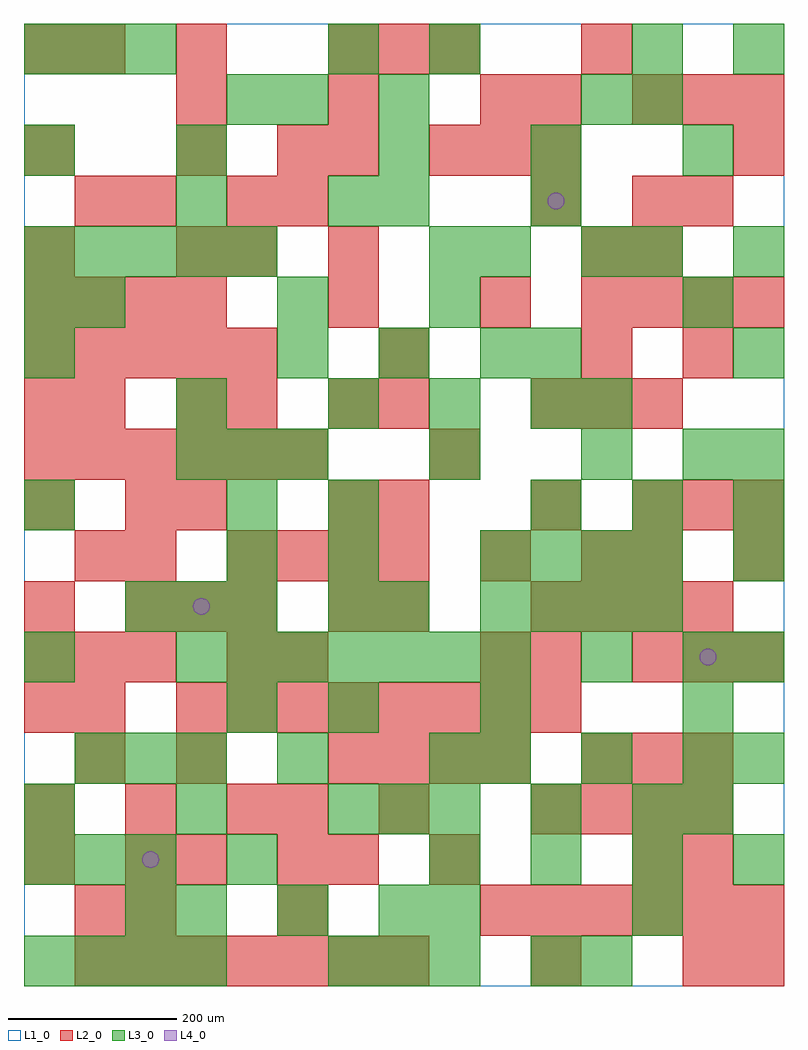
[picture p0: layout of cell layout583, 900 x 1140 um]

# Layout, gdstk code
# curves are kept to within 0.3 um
import gdstk
lib = gdstk.Library(unit=1e-6, precision=1e-09)
def R(c, l, rs):  # rectangles x0, y0, x1, y1
    for r in rs: c.add(gdstk.rectangle(r[:2], r[2:], *l))
def A(c, l, x, y, w, h, nx, ny, dx, dy):  # array of equal rectangles
    R(c, l, [(x+i*dx, y+j*dy, x+i*dx+w, y+j*dy+h) for i in range(nx) for j in range(ny)])
def P(c, l, *ps):  # polygons
    for p in ps: c.add(gdstk.Polygon(p, *l))
L1_0 = (1, 0)
L2_0 = (2, 0)
L3_0 = (3, 0)
L4_0 = (4, 0)

layout583 = lib.new_cell('layout583')
R(layout583, L1_0, [(0,0,900,1140)])
A(layout583, L2_0, 60, 0, 60, 60, 7, 1, 60, 0)
A(layout583, L2_0, 840, 0, 60, 60, 1, 3, 0, 480)
A(layout583, L2_0, 300, 60, 60, 60, 1, 3, 0, 60)
A(layout583, L2_0, 540, 60, 60, 60, 6, 1, 60, 0)
A(layout583, L2_0, 720, 120, 60, 60, 1, 3, 0, 360)
A(layout583, L2_0, 0, 180, 60, 60, 3, 1, 120, 0)
A(layout583, L2_0, 600, 180, 60, 60, 4, 2, 60, 240)
A(layout583, L2_0, 360, 240, 60, 60, 4, 1, 60, 0)
A(layout583, L2_0, 660, 240, 60, 60, 3, 1, 60, 0)
A(layout583, L2_0, 0, 300, 60, 60, 1, 4, 0, 120)
A(layout583, L2_0, 60, 300, 60, 60, 1, 3, 0, 180)
A(layout583, L2_0, 180, 300, 60, 60, 8, 1, 60, 0)
A(layout583, L2_0, 0, 360, 60, 60, 3, 1, 60, 0)
A(layout583, L2_0, 720, 360, 60, 60, 3, 2, 60, 180)
A(layout583, L2_0, 120, 420, 60, 60, 3, 1, 60, 0)
A(layout583, L2_0, 360, 420, 60, 60, 1, 4, 0, 120)
A(layout583, L2_0, 420, 420, 60, 60, 1, 3, 0, 120)
A(layout583, L2_0, 240, 480, 60, 60, 4, 1, 60, 0)
A(layout583, L2_0, 0, 600, 60, 60, 6, 1, 60, 0)
A(layout583, L2_0, 600, 660, 60, 60, 3, 1, 60, 0)
A(layout583, L2_0, 0, 720, 60, 60, 5, 1, 60, 0)
A(layout583, L2_0, 0, 780, 60, 60, 4, 1, 60, 0)
A(layout583, L2_0, 660, 780, 60, 60, 4, 1, 60, 0)
A(layout583, L2_0, 0, 840, 60, 60, 1, 3, 0, 120)
A(layout583, L2_0, 180, 840, 60, 60, 1, 3, 0, 120)
A(layout583, L2_0, 480, 960, 60, 60, 3, 1, 60, 0)
A(layout583, L2_0, 180, 1020, 60, 60, 3, 1, 180, 0)
A(layout583, L2_0, 720, 1020, 60, 60, 3, 1, 60, 0)
A(layout583, L2_0, 360, 1080, 60, 60, 3, 1, 60, 0)
R(layout583, L2_0, [(600,0,660,60), (780,0,840,60), (60,60,120,120), (120,60,180,120), (0,120,60,180), (120,120,180,180), (180,120,240,180), (360,120,420,180), (480,120,540,180), (780,120,840,180), (420,180,480,240), (60,240,120,300), (180,240,240,300), (240,360,300,420), (300,360,360,420), (540,360,600,420), (600,360,660,420), (120,480,180,540), (540,480,600,540), (660,480,720,540), (120,540,180,600), (180,540,240,600), (600,540,660,600), (480,600,540,660), (180,660,240,720), (240,660,300,720), (420,720,480,780), (660,720,720,780), (780,720,840,780), (540,780,600,840), (240,840,300,900), (360,840,420,900), (660,840,720,900), (60,900,120,960), (120,900,180,960), (240,900,300,960), (300,900,360,960), (600,900,660,960), (720,900,780,960), (780,900,840,960), (300,960,360,1020), (360,960,420,1020), (600,1020,660,1080), (60,1080,120,1140), (660,1080,720,1140)])
A(layout583, L3_0, 0, 0, 60, 60, 4, 1, 60, 0)
A(layout583, L3_0, 360, 0, 60, 60, 3, 1, 60, 0)
A(layout583, L3_0, 180, 60, 60, 60, 3, 1, 120, 0)
A(layout583, L3_0, 0, 120, 60, 60, 3, 2, 60, 960)
A(layout583, L3_0, 240, 120, 60, 60, 1, 3, 0, 180)
A(layout583, L3_0, 480, 120, 60, 60, 4, 1, 120, 0)
A(layout583, L3_0, 0, 180, 60, 60, 3, 1, 180, 0)
A(layout583, L3_0, 480, 180, 60, 60, 3, 1, 120, 0)
A(layout583, L3_0, 60, 240, 60, 60, 3, 1, 60, 0)
A(layout583, L3_0, 540, 240, 60, 60, 3, 1, 120, 0)
A(layout583, L3_0, 840, 240, 60, 60, 1, 6, 0, 120)
A(layout583, L3_0, 0, 360, 60, 60, 1, 3, 0, 180)
A(layout583, L3_0, 180, 360, 60, 60, 7, 1, 60, 0)
A(layout583, L3_0, 120, 420, 60, 60, 3, 1, 60, 0)
A(layout583, L3_0, 360, 420, 60, 60, 1, 3, 0, 60)
A(layout583, L3_0, 540, 420, 60, 60, 4, 2, 60, 60)
A(layout583, L3_0, 600, 540, 60, 60, 3, 1, 120, 0)
A(layout583, L3_0, 180, 600, 60, 60, 3, 1, 60, 0)
A(layout583, L3_0, 360, 660, 60, 60, 3, 1, 120, 0)
A(layout583, L3_0, 660, 660, 60, 60, 1, 3, 0, 180)
A(layout583, L3_0, 300, 720, 60, 60, 3, 1, 120, 0)
A(layout583, L3_0, 0, 840, 60, 60, 5, 1, 60, 0)
A(layout583, L3_0, 420, 960, 60, 60, 3, 1, 180, 0)
R(layout583, L3_0, [(600,0,660,60), (660,0,720,60), (120,60,180,120), (480,60,540,120), (720,60,780,120), (420,180,480,240), (780,180,840,240), (300,240,360,300), (480,240,540,300), (360,300,420,360), (540,300,600,360), (780,300,840,360), (660,360,720,420), (780,360,840,420), (420,420,480,480), (240,540,300,600), (480,600,540,660), (660,600,720,660), (780,600,840,660), (180,660,240,720), (600,720,660,780), (0,780,60,840), (60,780,120,840), (300,780,360,840), (480,780,540,840), (780,780,840,840), (480,840,540,900), (540,840,600,900), (720,840,780,900), (180,900,240,960), (360,900,420,960), (420,900,480,960), (600,900,660,960), (0,960,60,1020), (180,960,240,1020), (240,1020,300,1080), (300,1020,360,1080), (420,1020,480,1080), (720,1020,780,1080), (360,1080,420,1140), (480,1080,540,1140), (720,1080,780,1140), (840,1080,900,1140)])
P(layout583, L4_0, [(160,150),(159.239,153.827),(157.071,157.071),(153.827,159.239),(150,160),(146.173,159.239),(142.929,157.071),(140.761,153.827),(140,150),(140.761,146.173),(142.929,142.929),(146.173,140.761),(150,140),(153.827,140.761),(157.071,142.929),(159.239,146.173)],
  [(220,450),(219.239,453.827),(217.071,457.071),(213.827,459.239),(210,460),(206.173,459.239),(202.929,457.071),(200.761,453.827),(200,450),(200.761,446.173),(202.929,442.929),(206.173,440.761),(210,440),(213.827,440.761),(217.071,442.929),(219.239,446.173)],
  [(640,930),(639.239,933.827),(637.071,937.071),(633.827,939.239),(630,940),(626.173,939.239),(622.929,937.071),(620.761,933.827),(620,930),(620.761,926.173),(622.929,922.929),(626.173,920.761),(630,920),(633.827,920.761),(637.071,922.929),(639.239,926.173)],
  [(820,390),(819.239,393.827),(817.071,397.071),(813.827,399.239),(810,400),(806.173,399.239),(802.929,397.071),(800.761,393.827),(800,390),(800.761,386.173),(802.929,382.929),(806.173,380.761),(810,380),(813.827,380.761),(817.071,382.929),(819.239,386.173)])

lib.write_gds('layout583.gds')
